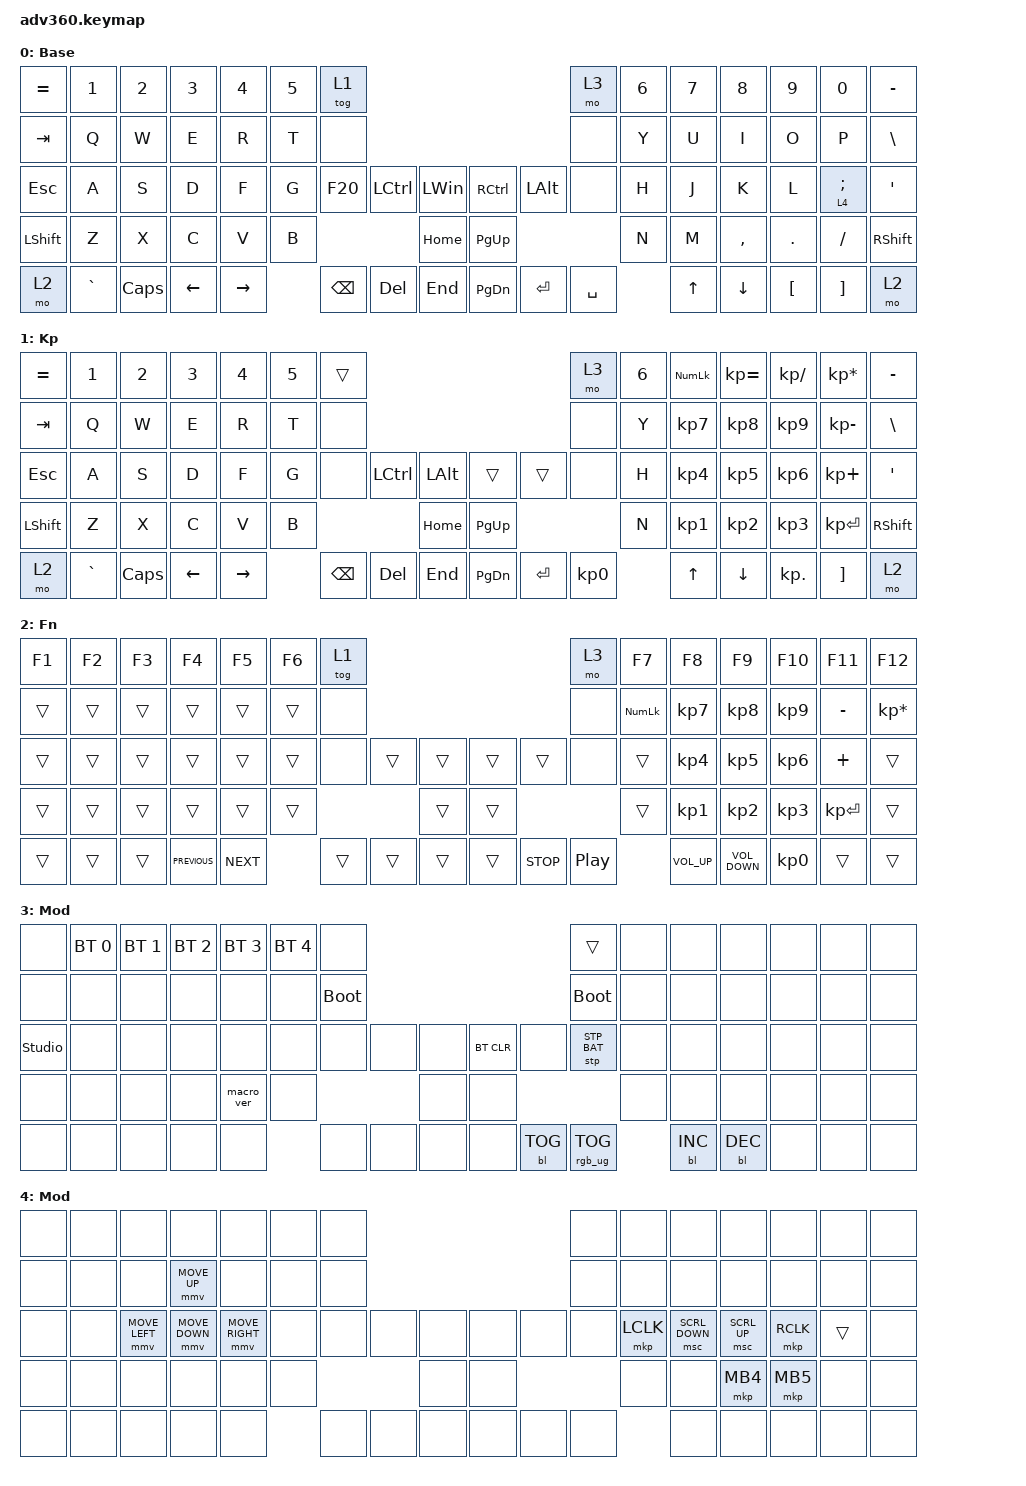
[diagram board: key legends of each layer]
#include <dt-bindings/zmk/stp.h>
#include <behaviors.dtsi>
#include <dt-bindings/zmk/backlight.h>
#include <dt-bindings/zmk/bt.h>
#include <dt-bindings/zmk/keys.h>
#include <dt-bindings/zmk/pointing.h>
#include <dt-bindings/zmk/rgb.h>

#define ZMK_POINTING_DEFAULT_MOVE_VAL 1800
#define ZMK_POINTING_DEFAULT_SCRL_VAL 13

&mmv {
    trigger-period-ms = <10>;
    time-to-max-speed-ms = <300>;
    acceleration-exponent = <1>;
};

&msc {
    delay-ms = <0>;
    trigger-period-ms = <1>;
    acceleration-exponent = <0>;
};

/ {
    behaviors {
        #include "macros.dtsi"
      #include "version.dtsi"

        hm: homerow_mods {
            compatible = "zmk,behavior-hold-tap";
            label = "HOMEROW_MODS";
            #binding-cells = <2>;
            tapping-term-ms = <200>;
            quick_tap_ms = <175>;
            flavor = "tap-preferred";
            bindings = <&kp>, <&kp>;
        };
    };

    keymap {
        compatible = "zmk,keymap";

        default_layer {
            display-name = "Base";
            bindings = <
&kp EQUAL  &kp N1     &kp N2    &kp N3    &kp N4     &kp N5  &tog 1                                                                  &mo 3      &kp N6  &kp N7  &kp N8     &kp N9    &kp N0           &kp MINUS
&kp TAB    &kp Q      &kp W     &kp E     &kp R      &kp T   &none                                                                   &none      &kp Y   &kp U   &kp I      &kp O     &kp P            &kp BSLH
&kp ESC    &kp A      &kp S     &kp D     &kp F      &kp G   &kp F20   &kp LCTRL  &kp LEFT_WIN      &kp RIGHT_CONTROL  &kp LEFT_ALT  &none      &kp H   &kp J   &kp K      &kp L     &lt 4 SEMICOLON  &kp SQT
&kp LSHFT  &kp Z      &kp X     &kp C     &kp V      &kp B                        &kp HOME          &kp PG_UP                                   &kp N   &kp M   &kp COMMA  &kp DOT   &kp FSLH         &kp RSHFT
&mo 2      &kp GRAVE  &kp CAPS  &kp LEFT  &kp RIGHT          &kp BSPC  &kp DEL    &kp END           &kp PG_DN          &kp ENTER     &kp SPACE          &kp UP  &kp DOWN   &kp LBKT  &kp RBKT         &mo 2
            >;
        };

        keypad {
            display-name = "Kp";
            bindings = <
&kp EQUAL  &kp N1     &kp N2    &kp N3    &kp N4     &kp N5  &trans                                                   &mo 3      &kp N6  &kp KP_NUM  &kp KP_EQUAL  &kp KP_DIVIDE  &kp KP_MULTIPLY  &kp MINUS
&kp TAB    &kp Q      &kp W     &kp E     &kp R      &kp T   &none                                                    &none      &kp Y   &kp KP_N7   &kp KP_N8     &kp KP_N9      &kp KP_MINUS     &kp BSLH
&kp ESC    &kp A      &kp S     &kp D     &kp F      &kp G   &none     &kp LCTRL  &kp LALT      &trans     &trans     &none      &kp H   &kp KP_N4   &kp KP_N5     &kp KP_N6      &kp KP_PLUS      &kp SQT
&kp LSHFT  &kp Z      &kp X     &kp C     &kp V      &kp B                        &kp HOME      &kp PG_UP                        &kp N   &kp KP_N1   &kp KP_N2     &kp KP_N3      &kp KP_ENTER     &kp RSHFT
&mo 2      &kp GRAVE  &kp CAPS  &kp LEFT  &kp RIGHT          &kp BSPC  &kp DEL    &kp END       &kp PG_DN  &kp ENTER  &kp KP_N0          &kp UP      &kp DOWN      &kp KP_DOT     &kp RBKT         &mo 2
            >;
        };

        fn {
            display-name = "Fn";
            bindings = <
&kp F1  &kp F2  &kp F3  &kp F4          &kp F5      &kp F6  &tog 1                                          &mo 3             &kp F7          &kp F8           &kp F9             &kp F10          &kp F11       &kp F12
&trans  &trans  &trans  &trans          &trans      &trans  &none                                           &none             &kp KP_NUMLOCK  &kp KP_NUMBER_7  &kp KP_NUMBER_8    &kp KP_NUMBER_9  &kp MINUS     &kp KP_MULTIPLY
&trans  &trans  &trans  &trans          &trans      &trans  &none   &trans  &trans      &trans  &trans      &none             &trans          &kp KP_NUMBER_4  &kp KP_NUMBER_5    &kp KP_NUMBER_6  &kp PLUS      &trans
&trans  &trans  &trans  &trans          &trans      &trans                  &trans      &trans                                &trans          &kp KP_NUMBER_1  &kp KP_NUMBER_2    &kp KP_NUMBER_3  &kp KP_ENTER  &trans
&trans  &trans  &trans  &kp C_PREVIOUS  &kp C_NEXT          &trans  &trans  &trans      &trans  &kp C_STOP  &kp C_PLAY_PAUSE                  &kp C_VOLUME_UP  &kp C_VOLUME_DOWN  &kp KP_NUMBER_0  &trans        &trans
            >;
        };

        mod {
            display-name = "Mod";
            bindings = <
&none           &bt BT_SEL 0  &bt BT_SEL 1  &bt BT_SEL 2  &bt BT_SEL 3  &bt BT_SEL 4  &none                                                  &trans           &none  &none       &none       &none  &none  &none
&none           &none         &none         &none         &none         &none         &bootloader                                            &bootloader      &none  &none       &none       &none  &none  &none
&studio_unlock  &none         &none         &none         &none         &none         &none        &none  &none      &bt BT_CLR  &none       &stp STP_BAT     &none  &none       &none       &none  &none  &none
&none           &none         &none         &none         &macro_ver    &none                             &none      &none                                    &none  &none       &none       &none  &none  &none
&none           &none         &none         &none         &none                       &none        &none  &none      &none       &bl BL_TOG  &rgb_ug RGB_TOG         &bl BL_INC  &bl BL_DEC  &none  &none  &none
            >;
        };

        mouse {
            display-name = "Mod";
            bindings = <
&none  &none  &none           &none           &none            &none  &none                                  &none  &none      &none           &none         &none      &none   &none
&none  &none  &none           &mmv MOVE_UP    &none            &none  &none                                  &none  &none      &none           &none         &none      &none   &none
&none  &none  &mmv MOVE_LEFT  &mmv MOVE_DOWN  &mmv MOVE_RIGHT  &none  &none  &none  &none      &none  &none  &none  &mkp LCLK  &msc SCRL_DOWN  &msc SCRL_UP  &mkp RCLK  &trans  &none
&none  &none  &none           &none           &none            &none                &none      &none                &none      &none           &mkp MB4      &mkp MB5   &none   &none
&none  &none  &none           &none           &none                   &none  &none  &none      &none  &none  &none             &none           &none         &none      &none   &none
            >;

            label = "Mouse";
        };
    };
};
